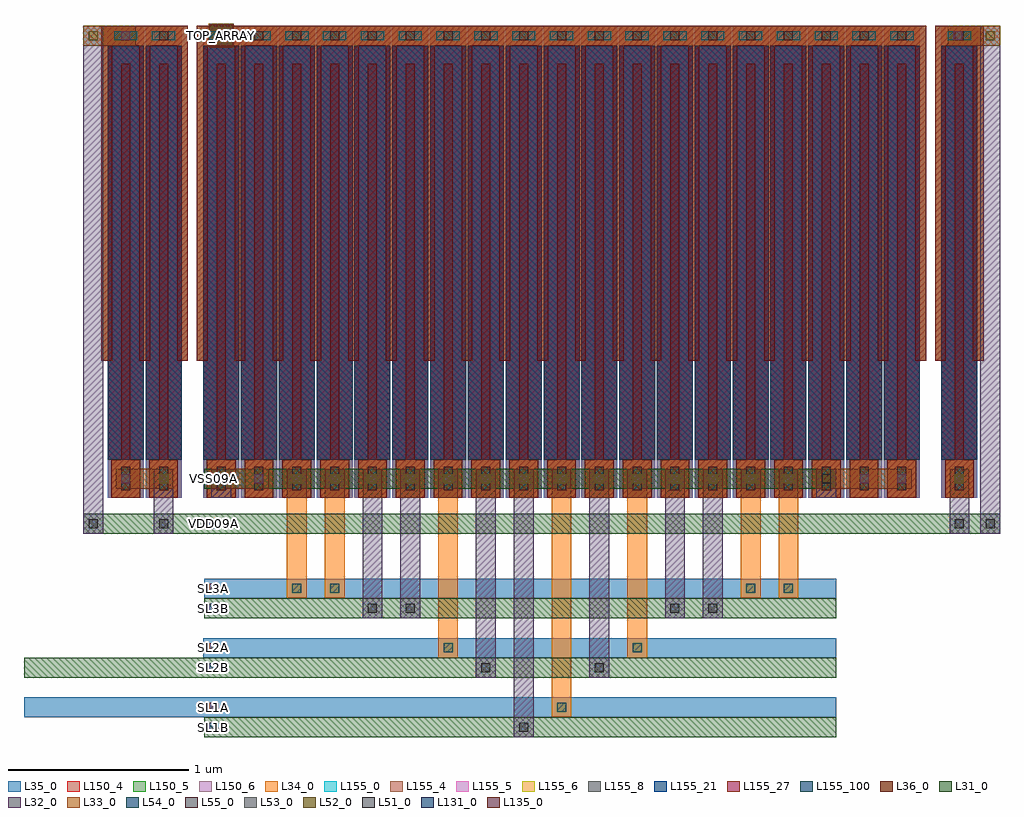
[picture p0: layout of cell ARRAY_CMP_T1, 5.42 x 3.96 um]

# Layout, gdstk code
from math import pi, radians
import gdstk
lib = gdstk.Library(unit=1e-6, precision=1e-09)
def R(c, l, rs):  # rectangles x0, y0, x1, y1
    for r in rs: c.add(gdstk.rectangle(r[:2], r[2:], *l))
def A(c, l, x, y, w, h, nx, ny, dx, dy):  # array of equal rectangles
    R(c, l, [(x+i*dx, y+j*dy, x+i*dx+w, y+j*dy+h) for i in range(nx) for j in range(ny)])
L31_0 = (31, 0)
L32_0 = (32, 0)
L33_0 = (33, 0)
L34_0 = (34, 0)
L35_0 = (35, 0)
L36_0 = (36, 0)
L51_0 = (51, 0)
L52_0 = (52, 0)
L53_0 = (53, 0)
L54_0 = (54, 0)
L55_0 = (55, 0)
L131_0 = (131, 0)
L135_0 = (135, 0)
L150_4 = (150, 4)
L150_5 = (150, 5)
L150_6 = (150, 6)
L155_0 = (155, 0)
L155_4 = (155, 4)
L155_5 = (155, 5)
L155_6 = (155, 6)
L155_8 = (155, 8)
L155_21 = (155, 21)
L155_27 = (155, 27)
L155_100 = (155, 100)

m5_m4_cdns_621360690217 = lib.new_cell('M5_M4_CDNS_621360690217')
R(m5_m4_cdns_621360690217, L34_0, [(-0.07,-0.105,0.07,0.105)])
R(m5_m4_cdns_621360690217, L35_0, [(-0.07,-0.105,0.07,0.105)])
R(m5_m4_cdns_621360690217, L54_0, [(-0.025,-0.065,0.025,0.065)])

m6_m5_cdns_621360690218 = lib.new_cell('M6_M5_CDNS_621360690218')
R(m6_m5_cdns_621360690218, L35_0, [(-0.07,-0.105,0.07,0.105)])
R(m6_m5_cdns_621360690218, L36_0, [(-0.055,-0.105,0.055,0.105)])
R(m6_m5_cdns_621360690218, L55_0, [(-0.025,-0.065,0.025,0.065)])

m5_m4_cdns_621360690219 = lib.new_cell('M5_M4_CDNS_621360690219')
R(m5_m4_cdns_621360690219, L34_0, [(-0.095,-0.055,0.095,0.055)])
R(m5_m4_cdns_621360690219, L35_0, [(-0.12,-0.055,0.12,0.055)])
R(m5_m4_cdns_621360690219, L54_0, [(-0.065,-0.025,0.065,0.025)])

m6_m5_cdns_6213606902110 = lib.new_cell('M6_M5_CDNS_6213606902110')
R(m6_m5_cdns_6213606902110, L35_0, [(-0.055,-0.055,0.055,0.055)])
R(m6_m5_cdns_6213606902110, L36_0, [(-0.055,-0.055,0.055,0.055)])
R(m6_m5_cdns_6213606902110, L55_0, [(-0.025,-0.025,0.025,0.025)])

cu1f = lib.new_cell('CU1F')
R(cu1f, L34_0, [(0.02,0,0.18,0.21), (-0.035,2.51,0.235,2.62)])
R(cu1f, L35_0, [(0.02,0,0.18,0.21), (-0.035,2.51,0.235,2.62)])
R(cu1f, L36_0, [(0.02,0,0.18,0.21), (-0.035,2.51,0.235,2.62)])
R(cu1f, L150_4, [(0,0,0.2,2.62)])
R(cu1f, L150_5, [(0,0,0.2,2.62)])
R(cu1f, L150_6, [(0,0,0.2,2.62)])
R(cu1f, L155_0, [(0,0.21,0.2,2.51)])
R(cu1f, L155_4, [(0,0.21,0.2,2.51)])
R(cu1f, L155_5, [(0,0.21,0.2,2.51)])
R(cu1f, L155_6, [(0,0.21,0.2,2.51)])
R(cu1f, L155_8, [(0,0.21,0.2,2.51)])
R(cu1f, L155_21, [(0,0.21,0.2,2.51)])
R(cu1f, L155_27, [(0,0.21,0.2,2.51)])
R(cu1f, L155_100, [(0,0.21,0.2,2.51)])
cu1f.add(gdstk.FlexPath([(0.205,2.59),(0.205,0.76)], 0.06, ends=(0.03, 0), simple_path=True, layer=34, datatype=0))  # L34_0
cu1f.add(gdstk.FlexPath([(0.1,2.41),(0.1,0)], 0.05, ends="flush", simple_path=True, layer=34, datatype=0))  # L34_0
cu1f.add(gdstk.FlexPath([(-0.005,2.59),(-0.005,0.76)], 0.06, ends=(0.03, 0), simple_path=True, layer=34, datatype=0))  # L34_0
cu1f.add(gdstk.FlexPath([(0.205,0.76),(0.205,2.59)], 0.06, ends=(0, 0.03), simple_path=True, layer=35, datatype=0))  # L35_0
cu1f.add(gdstk.FlexPath([(0.1,2.41),(0.1,0)], 0.05, ends="flush", simple_path=True, layer=35, datatype=0))  # L35_0
cu1f.add(gdstk.FlexPath([(-0.005,0.76),(-0.005,2.59)], 0.06, ends=(0, 0.03), simple_path=True, layer=35, datatype=0))  # L35_0
cu1f.add(gdstk.FlexPath([(0.205,0.76),(0.205,2.59)], 0.06, ends=(0, 0.03), simple_path=True, layer=36, datatype=0))  # L36_0
cu1f.add(gdstk.FlexPath([(0.1,2.41),(0.1,0)], 0.05, ends="flush", simple_path=True, layer=36, datatype=0))  # L36_0
cu1f.add(gdstk.FlexPath([(-0.005,0.76),(-0.005,2.59)], 0.06, ends=(0, 0.03), simple_path=True, layer=36, datatype=0))  # L36_0
cu1f.add(gdstk.Reference(m5_m4_cdns_621360690217, (0.1,0.105), rotation=pi, x_reflection=True))
cu1f.add(gdstk.Reference(m6_m5_cdns_621360690218, (0.1,0.105), rotation=pi, x_reflection=True))
cu1f.add(gdstk.Reference(m5_m4_cdns_621360690219, (0.1,2.565)))
cu1f.add(gdstk.Reference(m6_m5_cdns_6213606902110, (0.1,2.565)))

m2_m1_cdns_621360690210 = lib.new_cell('M2_M1_CDNS_621360690210')
R(m2_m1_cdns_621360690210, L31_0, [(-0.055,-0.055,0.055,0.055)])
R(m2_m1_cdns_621360690210, L32_0, [(-0.055,-0.055,0.055,0.055)])
R(m2_m1_cdns_621360690210, L51_0, [(-0.025,-0.025,0.025,0.025)])

m3_m2_cdns_621360690211 = lib.new_cell('M3_M2_CDNS_621360690211')
R(m3_m2_cdns_621360690211, L32_0, [(-0.055,-0.055,0.055,0.055)])
R(m3_m2_cdns_621360690211, L33_0, [(-0.055,-0.055,0.055,0.055)])
R(m3_m2_cdns_621360690211, L52_0, [(-0.025,-0.025,0.025,0.025)])

m4_m3_cdns_621360690212 = lib.new_cell('M4_M3_CDNS_621360690212')
R(m4_m3_cdns_621360690212, L33_0, [(-0.055,-0.055,0.055,0.055)])
R(m4_m3_cdns_621360690212, L34_0, [(-0.055,-0.055,0.055,0.055)])
R(m4_m3_cdns_621360690212, L53_0, [(-0.025,-0.025,0.025,0.025)])

m4_m3_cdns_621360690213 = lib.new_cell('M4_M3_CDNS_621360690213')
R(m4_m3_cdns_621360690213, L33_0, [(-0.07,-0.065,0.07,0.065)])
R(m4_m3_cdns_621360690213, L34_0, [(-0.055,-0.055,0.055,0.055)])
R(m4_m3_cdns_621360690213, L53_0, [(-0.025,-0.025,0.025,0.025)])

m3_m2_cdns_621360690214 = lib.new_cell('M3_M2_CDNS_621360690214')
R(m3_m2_cdns_621360690214, L32_0, [(-0.065,-0.06,0.065,0.06)])
R(m3_m2_cdns_621360690214, L33_0, [(-0.07,-0.065,0.07,0.065)])
R(m3_m2_cdns_621360690214, L52_0, [(-0.025,-0.025,0.025,0.025)])

m2_m1_cdns_621360690215 = lib.new_cell('M2_M1_CDNS_621360690215')
R(m2_m1_cdns_621360690215, L31_0, [(-0.055,-0.055,0.055,0.055)])
R(m2_m1_cdns_621360690215, L32_0, [(-0.065,-0.06,0.065,0.06)])
R(m2_m1_cdns_621360690215, L51_0, [(-0.025,-0.025,0.025,0.025)])

m5_m4_cdns_621360690216 = lib.new_cell('M5_M4_CDNS_621360690216')
R(m5_m4_cdns_621360690216, L34_0, [(-0.055,-0.055,0.055,0.055)])
R(m5_m4_cdns_621360690216, L35_0, [(-0.055,-0.055,0.055,0.055)])
R(m5_m4_cdns_621360690216, L54_0, [(-0.025,-0.025,0.025,0.025)])

array_cmp_t1 = lib.new_cell('ARRAY_CMP_T1')
R(array_cmp_t1, L31_0, [(0.535,-1.33,4.045,-1.22), (-0.465,-1,4.045,-0.89), (0.535,-0.67,4.045,-0.56), (-0.135,-0.2,4.955,-0.09), (0.535,0.05,4.045,0.16), (0.56,2.5,0.7,2.63)])
R(array_cmp_t1, L32_0, [(2.255,-1.33,2.365,0.16), (2.045,-1,2.155,0.16), (2.675,-1,2.785,0.16), (1.415,-0.67,1.525,0.16), (1.625,-0.67,1.735,0.16), (3.095,-0.67,3.205,0.16), (3.305,-0.67,3.415,0.16), (-0.135,-0.2,-0.025,2.62), (0.255,-0.2,0.365,0.16), (4.675,-0.2,4.785,0.16), (4.845,-0.2,4.955,2.62), (0.575,0,0.685,0.16), (3.935,0,4.045,0.16)])
A(array_cmp_t1, L33_0, 0.995, 0, 0.11, 0.16, 14, 1, 0.21, 0)
R(array_cmp_t1, L33_0, [(4.675,0,4.785,0.16), (0.045,0.05,0.365,0.16), (0.575,0.05,0.895,0.16), (3.935,0.05,4.465,0.16), (-0.135,2.51,0.155,2.62), (4.665,2.51,4.955,2.62)])
R(array_cmp_t1, L34_0, [(2.465,-1.22,2.575,0.16), (1.835,-0.89,1.945,0.16), (2.885,-0.89,2.995,0.16), (0.995,-0.56,1.105,0.16), (1.205,-0.56,1.315,0.16), (3.515,-0.56,3.625,0.16), (3.725,-0.56,3.835,0.16)])
R(array_cmp_t1, L35_0, [(-0.465,-1.22,4.045,-1.11), (0.53,-0.89,4.045,-0.78), (0.535,-0.56,4.045,-0.45)])
A(array_cmp_t1, L131_0, 0.565, -1.3, 0.05, 0.05, 1, 3, 0, 0.33)
R(array_cmp_t1, L131_0, [(0.565,-0.17,0.615,-0.12), (0.565,0.08,0.615,0.13), (0.605,2.54,0.655,2.59)])
A(array_cmp_t1, L135_0, 0.565, -1.19, 0.05, 0.05, 1, 3, 0, 0.33)
array_cmp_t1.add(gdstk.Reference(cu1f, (0,0)))
array_cmp_t1.add(gdstk.Reference(cu1f, (0.21,0)))
array_cmp_t1.add(gdstk.Reference(cu1f, (0.53,0)))
array_cmp_t1.add(gdstk.Reference(cu1f, (0.74,0)))
array_cmp_t1.add(gdstk.Reference(cu1f, (4.63,0)))
array_cmp_t1.add(gdstk.Reference(cu1f, (4.31,0)))
array_cmp_t1.add(gdstk.Reference(cu1f, (4.1,0)))
array_cmp_t1.add(gdstk.Reference(cu1f, (3.89,0)))
array_cmp_t1.add(gdstk.Reference(cu1f, (3.68,0)))
array_cmp_t1.add(gdstk.Reference(cu1f, (3.47,0)))
array_cmp_t1.add(gdstk.Reference(cu1f, (3.26,0)))
array_cmp_t1.add(gdstk.Reference(cu1f, (3.05,0)))
array_cmp_t1.add(gdstk.Reference(cu1f, (2.84,0)))
array_cmp_t1.add(gdstk.Reference(cu1f, (2.63,0)))
array_cmp_t1.add(gdstk.Reference(cu1f, (2.42,0)))
array_cmp_t1.add(gdstk.Reference(cu1f, (2.21,0)))
array_cmp_t1.add(gdstk.Reference(cu1f, (2,0)))
array_cmp_t1.add(gdstk.Reference(cu1f, (1.79,0)))
array_cmp_t1.add(gdstk.Reference(cu1f, (1.58,0)))
array_cmp_t1.add(gdstk.Reference(cu1f, (1.37,0)))
array_cmp_t1.add(gdstk.Reference(cu1f, (1.16,0)))
array_cmp_t1.add(gdstk.Reference(cu1f, (0.95,0)))
array_cmp_t1.add(gdstk.Reference(m2_m1_cdns_621360690210, (4.9,-0.145)))
array_cmp_t1.add(gdstk.Reference(m2_m1_cdns_621360690210, (-0.08,-0.145)))
array_cmp_t1.add(gdstk.Reference(m2_m1_cdns_621360690210, (3.99,0.105)))
array_cmp_t1.add(gdstk.Reference(m2_m1_cdns_621360690210, (4.73,-0.145)))
array_cmp_t1.add(gdstk.Reference(m2_m1_cdns_621360690210, (0.31,-0.145)))
array_cmp_t1.add(gdstk.Reference(m2_m1_cdns_621360690210, (2.31,-1.275)))
array_cmp_t1.add(gdstk.Reference(m2_m1_cdns_621360690210, (2.1,-0.945)))
array_cmp_t1.add(gdstk.Reference(m2_m1_cdns_621360690210, (2.73,-0.945)))
array_cmp_t1.add(gdstk.Reference(m2_m1_cdns_621360690210, (1.68,-0.615)))
array_cmp_t1.add(gdstk.Reference(m2_m1_cdns_621360690210, (1.47,-0.615)))
array_cmp_t1.add(gdstk.Reference(m2_m1_cdns_621360690210, (3.15,-0.615)))
array_cmp_t1.add(gdstk.Reference(m2_m1_cdns_621360690210, (3.36,-0.615)))
array_cmp_t1.add(gdstk.Reference(m2_m1_cdns_621360690210, (0.63,0.105)))
array_cmp_t1.add(gdstk.Reference(m3_m2_cdns_621360690211, (4.9,2.565)))
array_cmp_t1.add(gdstk.Reference(m3_m2_cdns_621360690211, (-0.08,2.565)))
array_cmp_t1.add(gdstk.Reference(m3_m2_cdns_621360690211, (1.05,0.105)))
array_cmp_t1.add(gdstk.Reference(m3_m2_cdns_621360690211, (1.26,0.105)))
array_cmp_t1.add(gdstk.Reference(m3_m2_cdns_621360690211, (1.47,0.105)))
array_cmp_t1.add(gdstk.Reference(m3_m2_cdns_621360690211, (1.68,0.105)))
array_cmp_t1.add(gdstk.Reference(m3_m2_cdns_621360690211, (1.89,0.105)))
array_cmp_t1.add(gdstk.Reference(m3_m2_cdns_621360690211, (2.1,0.105)))
array_cmp_t1.add(gdstk.Reference(m3_m2_cdns_621360690211, (2.31,0.105)))
array_cmp_t1.add(gdstk.Reference(m3_m2_cdns_621360690211, (2.52,0.105)))
array_cmp_t1.add(gdstk.Reference(m3_m2_cdns_621360690211, (2.73,0.105)))
array_cmp_t1.add(gdstk.Reference(m3_m2_cdns_621360690211, (2.94,0.105)))
array_cmp_t1.add(gdstk.Reference(m3_m2_cdns_621360690211, (3.15,0.105)))
array_cmp_t1.add(gdstk.Reference(m3_m2_cdns_621360690211, (3.36,0.105)))
array_cmp_t1.add(gdstk.Reference(m3_m2_cdns_621360690211, (3.57,0.105)))
array_cmp_t1.add(gdstk.Reference(m3_m2_cdns_621360690211, (3.78,0.105)))
array_cmp_t1.add(gdstk.Reference(m3_m2_cdns_621360690211, (4.73,0.105)))
array_cmp_t1.add(gdstk.Reference(m3_m2_cdns_621360690211, (3.99,0.105)))
array_cmp_t1.add(gdstk.Reference(m3_m2_cdns_621360690211, (0.63,0.105)))
array_cmp_t1.add(gdstk.Reference(m3_m2_cdns_621360690211, (0.31,0.105)))
array_cmp_t1.add(gdstk.Reference(m4_m3_cdns_621360690212, (4.72,2.565), rotation=pi, x_reflection=True))
array_cmp_t1.add(gdstk.Reference(m4_m3_cdns_621360690212, (0.1,2.565)))
array_cmp_t1.add(gdstk.Reference(m4_m3_cdns_621360690212, (1.05,0.105)))
array_cmp_t1.add(gdstk.Reference(m4_m3_cdns_621360690212, (1.26,0.105)))
array_cmp_t1.add(gdstk.Reference(m4_m3_cdns_621360690212, (1.47,0.105)))
array_cmp_t1.add(gdstk.Reference(m4_m3_cdns_621360690212, (1.68,0.105)))
array_cmp_t1.add(gdstk.Reference(m4_m3_cdns_621360690212, (1.89,0.105)))
array_cmp_t1.add(gdstk.Reference(m4_m3_cdns_621360690212, (2.1,0.105)))
array_cmp_t1.add(gdstk.Reference(m4_m3_cdns_621360690212, (2.31,0.105)))
array_cmp_t1.add(gdstk.Reference(m4_m3_cdns_621360690212, (2.52,0.105)))
array_cmp_t1.add(gdstk.Reference(m4_m3_cdns_621360690212, (2.73,0.105)))
array_cmp_t1.add(gdstk.Reference(m4_m3_cdns_621360690212, (2.94,0.105)))
array_cmp_t1.add(gdstk.Reference(m4_m3_cdns_621360690212, (3.15,0.105)))
array_cmp_t1.add(gdstk.Reference(m4_m3_cdns_621360690212, (3.36,0.105)))
array_cmp_t1.add(gdstk.Reference(m4_m3_cdns_621360690212, (3.57,0.105)))
array_cmp_t1.add(gdstk.Reference(m4_m3_cdns_621360690212, (3.78,0.105)))
array_cmp_t1.add(gdstk.Reference(m4_m3_cdns_621360690212, (4.73,0.105)))
array_cmp_t1.add(gdstk.Reference(m4_m3_cdns_621360690212, (4.2,0.105)))
array_cmp_t1.add(gdstk.Reference(m4_m3_cdns_621360690212, (4.41,0.105)))
array_cmp_t1.add(gdstk.Reference(m4_m3_cdns_621360690212, (3.99,0.105)))
array_cmp_t1.add(gdstk.Reference(m4_m3_cdns_621360690212, (0.84,0.105)))
array_cmp_t1.add(gdstk.Reference(m4_m3_cdns_621360690212, (0.63,0.105)))
array_cmp_t1.add(gdstk.Reference(m4_m3_cdns_621360690212, (0.1,0.105)))
array_cmp_t1.add(gdstk.Reference(m4_m3_cdns_621360690212, (0.31,0.105)))
array_cmp_t1.add(gdstk.Reference(m4_m3_cdns_621360690213, (0.63,2.565)))
array_cmp_t1.add(gdstk.Reference(m3_m2_cdns_621360690214, (0.63,2.565)))
array_cmp_t1.add(gdstk.Reference(m2_m1_cdns_621360690215, (0.63,2.565)))
array_cmp_t1.add(gdstk.Reference(m5_m4_cdns_621360690216, (1.89,-0.835)))
array_cmp_t1.add(gdstk.Reference(m5_m4_cdns_621360690216, (2.94,-0.835)))
array_cmp_t1.add(gdstk.Reference(m5_m4_cdns_621360690216, (2.52,-1.165)))
array_cmp_t1.add(gdstk.Reference(m5_m4_cdns_621360690216, (3.78,-0.505)))
array_cmp_t1.add(gdstk.Reference(m5_m4_cdns_621360690216, (1.26,-0.505)))
array_cmp_t1.add(gdstk.Reference(m5_m4_cdns_621360690216, (3.57,-0.505)))
array_cmp_t1.add(gdstk.Reference(m5_m4_cdns_621360690216, (1.05,-0.505)))
array_cmp_t1.add(gdstk.Label('SL3A', (0.59,-0.505), layer=135, texttype=0))
array_cmp_t1.add(gdstk.Label('SL1A', (0.59,-1.165), layer=135, texttype=0))
array_cmp_t1.add(gdstk.Label('SL2A', (0.59,-0.835), layer=135, texttype=0))
array_cmp_t1.add(gdstk.Label('VDD09A', (0.59,-0.145), layer=131, texttype=0))
array_cmp_t1.add(gdstk.Label('SL3B', (0.59,-0.615), layer=131, texttype=0))
array_cmp_t1.add(gdstk.Label('VSS09A', (0.59,0.105), layer=131, texttype=0))
array_cmp_t1.add(gdstk.Label('SL1B', (0.59,-1.275), layer=131, texttype=0))
array_cmp_t1.add(gdstk.Label('SL2B', (0.59,-0.945), layer=131, texttype=0))
array_cmp_t1.add(gdstk.Label('TOP_ARRAY', (0.628,2.565), layer=131, texttype=0))

lib.write_gds('ARRAY_CMP_T1.gds')
